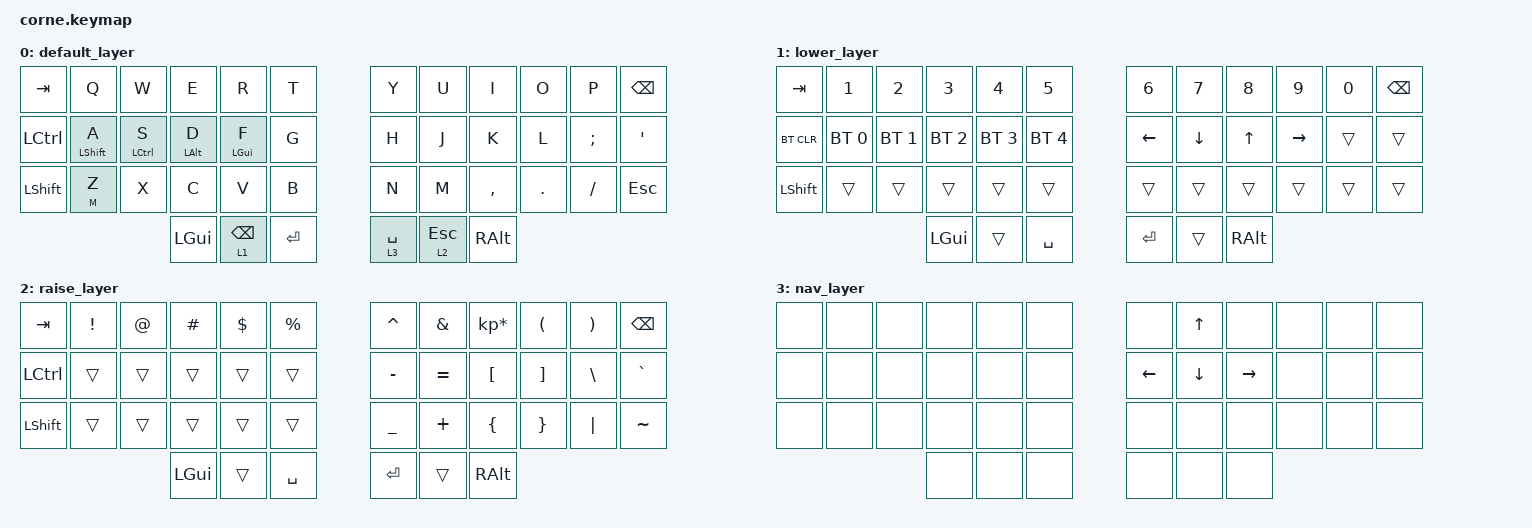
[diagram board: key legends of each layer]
/*
 * Copyright (c) 2020 The ZMK Contributors
 *
 * SPDX-License-Identifier: MIT
 */

#include <behaviors.dtsi>
#include <dt-bindings/zmk/keys.h>
#include <dt-bindings/zmk/bt.h>

/ {
    behaviors {
        hm: homerow_mods {
            compatible = "zmk,behavior-hold-tap";
            label = "HOMEROW_MODS";
            #binding-cells = <2>;
            tapping-term-ms = <150>;
            quick_tap_ms = <0>;
            flavor = "tap-preferred";
            bindings = <&kp>, <&kp>;
        };
    };

	combos {
		compatible = "zmk,combos";
		combo_enter {
			timeout-ms = <50>;
			key-positions = <7 8 9>;
			bindings = <&kp ENTER>;
		};
		combo_esc {
			timeout-ms = <50>;
			key-positions = <2 3 4>;
			bindings = <&kp ESC>;
		};
	};

        keymap {
                compatible = "zmk,keymap";

                default_layer {
// -----------------------------------------------------------------------------------------
// |  TAB |  Q  |  W  |  E  |  R  |  T  |   |  Y  |  U   |  I  |  O  |  P  | BKSP |
// | CTRL |  A  |  S  |  D  |  F  |  G  |   |  H  |  J   |  K  |  L  |  ;  |  '   |
// | SHFT |  Z  |  X  |  C  |  V  |  B  |   |  N  |  M   |  ,  |  .  |  /  | ESC  |
//                    | GUI | LWR | SPC |   | ENT | RSE  | ALT |
                        bindings = <
   &kp TAB   &kp Q &kp W &kp E &kp R &kp T   &kp Y &kp U  &kp I     &kp O   &kp P    &kp BSPC
   &kp LCTRL &mt LSHIFT A &hm LCTRL S &hm LALT D &hm LGUI F &kp G   &kp H &kp J  &kp K     &kp L   &kp SEMI &kp SQT
   &kp LSHFT &mt M Z &kp X &kp C &kp V &kp B   &kp N &kp M  &kp COMMA &kp DOT &kp FSLH &kp ESC
                  &kp LGUI &lt 1 BSPC &kp RET     &lt 3 SPACE &lt 2 ESC &kp RALT
                        >;
                };
                lower_layer {
// -----------------------------------------------------------------------------------------
// |  TAB |  1  |  2  |  3  |  4  |  5  |   |  6  |  7  |  8  |  9  |  0  | BKSP |
// | BTCLR| BT1 | BT2 | BT3 | BT4 | BT5 |   | LFT | DWN |  UP | RGT |     |      |
// | SHFT |     |     |     |     |     |   |     |     |     |     |     |      |
//                    | GUI |     | SPC |   | ENT |     | ALT |
                        bindings = <
   &kp TAB    &kp N1       &kp N2       &kp N3       &kp N4       &kp N5         &kp N6   &kp N7   &kp N8 &kp N9    &kp N0 &kp BSPC
   &bt BT_CLR &bt BT_SEL 0 &bt BT_SEL 1 &bt BT_SEL 2 &bt BT_SEL 3 &bt BT_SEL 4   &kp LEFT &kp DOWN &kp UP &kp RIGHT &trans &trans
   &kp LSHFT  &trans       &trans       &trans       &trans       &trans         &trans   &trans   &trans &trans    &trans &trans
                          	        &kp LGUI     &trans       &kp SPACE      &kp RET  &trans   &kp RALT
                        >;
                };

                raise_layer {
// -----------------------------------------------------------------------------------------
// |  TAB |  !  |  @  |  #  |  $  |  %  |   |  ^  |  &  |  *  |  (  |  )  | BKSP |
// | CTRL |     |     |     |     |     |   |  -  |  =  |  [  |  ]  |  \  |  `   |
// | SHFT |     |     |     |     |     |   |  _  |  +  |  {  |  }  | "|" |  ~   |
//                    | GUI |     | SPC |   | ENT |     | ALT |
                        bindings = <
   &kp  TAB  &kp EXCL &kp AT &kp HASH &kp DLLR &kp PRCNT   &kp CARET &kp AMPS  &kp KP_MULTIPLY &kp LPAR &kp RPAR &kp BSPC
   &kp LCTRL &trans   &trans &trans   &trans   &trans      &kp MINUS &kp EQUAL &kp LBKT        &kp RBKT &kp BSLH &kp GRAVE
   &kp LSHFT &trans   &trans &trans   &trans   &trans      &kp UNDER &kp PLUS  &kp LBRC        &kp RBRC &kp PIPE &kp TILDE
                    	     &kp LGUI &trans   &kp SPACE   &kp RET   &trans    &kp RALT
                        >;
                };

		nav_layer {
			bindings = <
				&none &none &none &none &none &none &none &kp UP &none &none &none &none
				&none &none &none &none &none &none &kp LEFT &kp DOWN &kp RIGHT &none &none &none
				&none &none &none &none &none &none &none &none &none &none &none &none
				&none &none &none &none &none &none
				
			>;
		};
        };
};
